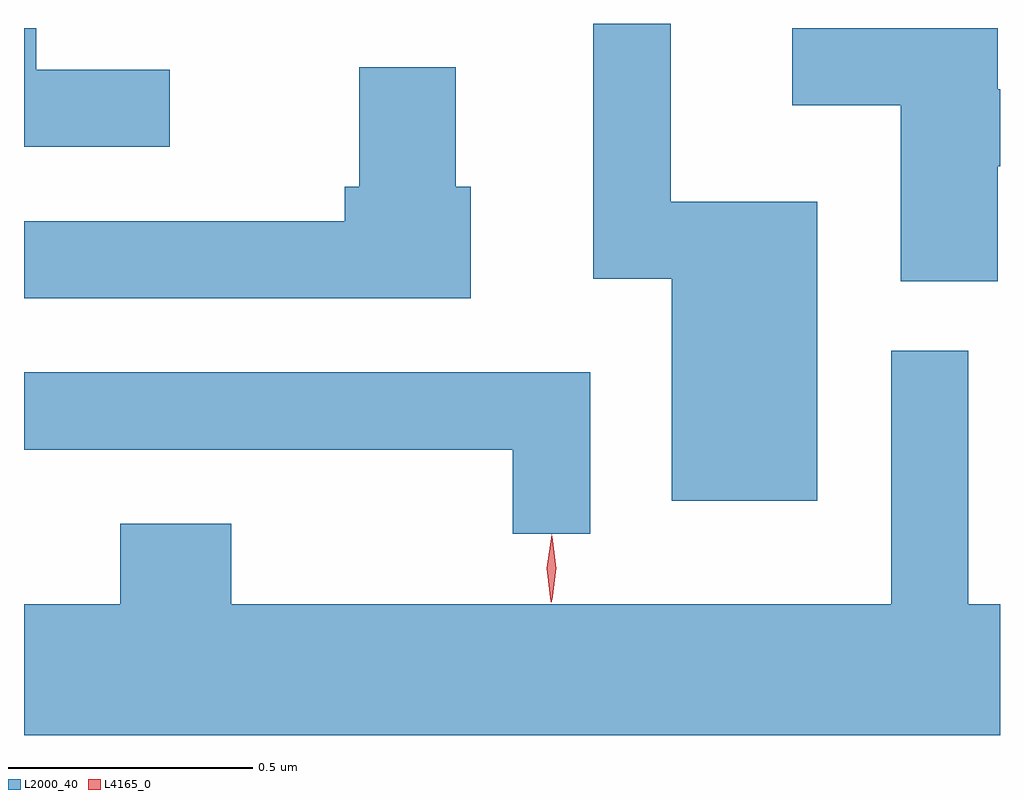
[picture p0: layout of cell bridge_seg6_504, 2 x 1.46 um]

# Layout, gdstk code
import gdstk
lib = gdstk.Library(unit=1e-6, precision=1e-09)
def P(c, l, *ps):  # polygons
    for p in ps: c.add(gdstk.Polygon(p, *l))
L2000_40 = (2000, 40)
L4165_0 = (4165, 0)

bridge_seg6_504 = lib.new_cell('bridge_seg6_504')
P(bridge_seg6_504, L2000_40, [(668.004,1591.089),(667.704,1591.089),(667.704,1591.453),(667.546,1591.453),(667.546,1590.931),(667.706,1590.931),(667.706,1590.476),(668.004,1590.476)],
  [(668.374,1591.161),(668.379,1591.161),(668.379,1591.319),(668.374,1591.319),(668.374,1591.444),(667.953,1591.444),(667.953,1591.286),(668.176,1591.286),(668.176,1590.926),(668.374,1590.926)],
  [(666.678,1591.359),(666.404,1591.359),(666.404,1591.444),(666.379,1591.444),(666.379,1591.201),(666.678,1591.201)],
  [(667.294,1591.119),(667.264,1591.119),(667.264,1591.364),(667.066,1591.364),(667.066,1591.119),(667.036,1591.119),(667.036,1591.049),(666.379,1591.049),(666.379,1590.891),(667.294,1590.891)],
  [(668.379,1590.264),(668.314,1590.264),(668.314,1590.783),(668.156,1590.783),(668.156,1590.264),(666.804,1590.264),(666.804,1590.429),(666.576,1590.429),(666.576,1590.264),(666.379,1590.264),(666.379,1589.996),(668.379,1589.996)],
  [(667.539,1590.739),(666.379,1590.739),(666.379,1590.581),(667.381,1590.581),(667.381,1590.408),(667.539,1590.408)])
P(bridge_seg6_504, L4165_0, [(667.46,1590.273),(667.46,1590.273),(667.45,1590.338),(667.46,1590.403),(667.46,1590.403),(667.461,1590.403),(667.47,1590.338),(667.461,1590.273)],
  [(667.459,1590.268),(667.458,1590.269),(667.45,1590.338),(667.46,1590.406),(667.46,1590.407),(667.46,1590.406),(667.47,1590.338),(667.46,1590.269)])

lib.write_gds('bridge_seg6_504.gds')
